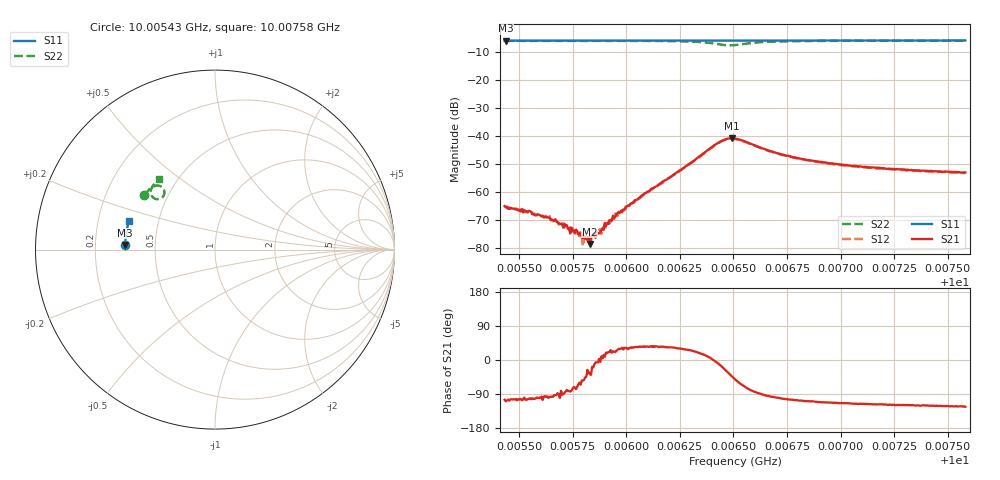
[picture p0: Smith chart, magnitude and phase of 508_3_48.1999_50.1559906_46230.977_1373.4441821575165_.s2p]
#  HZ  S  RI  R  50.00
! Rohde & Schwarz Vector Network Analyzer
! Rohde-Schwarz,ZNB20-2Port,1311601062101988,3.16
! Created: UTC 3/20/2024, 11:58:52 AM
! freq[Hz]  re:S11  im:S11  re:S21  im:S21  re:S12  im:S12  re:S22  im:S22
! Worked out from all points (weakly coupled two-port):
!   401 points, 10.00543 GHz to 10.00758 GHz, reference 50 ohm
!   highest |S21| = -40.85 dB at 10.00649 GHz (marker M1); lowest = -78.5 dB at 10.00583 GHz (marker M2)
!   lowest |S11| = -6.0 dB at 10.00544 GHz (marker M3), VSWR 3.01, Z = 16.6 + j1.13 ohm
!   |S11| at or under -10 dB: nowhere
!   |S22| runs from -7.7 to -6.0 dB; largest |S21 - S12| = 0.00054
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1.0005433e10  -0.5004 0.0249  -0.000143 -0.00054  -9.81e-05 -0.000539  -0.3933 0.3024
1.0005438e10  -0.5002 0.0254  -0.000174 -0.000506  -0.000127 -0.000527  -0.3931 0.3027
1.0005632e10  -0.4998 0.0379  -3.77e-05 -0.000354  -5.02e-05 -0.00033  -0.3847 0.3143
1.0005658e10  -0.4997 0.0396  -3.9e-05 -0.000314  -4.22e-05 -0.000306  -0.3834 0.316
1.0005691e10  -0.4996 0.0418  -4.7e-05 -0.000265  1.75e-06 -0.000275  -0.382 0.3179
1.0005718e10  -0.4997 0.0435  3.1e-05 -0.000247  3.58e-05 -0.000232  -0.3805 0.3195
1.000575e10  -0.4994 0.0457  4.94e-05 -0.000194  8.35e-05 -0.000207  -0.379 0.3216
1.0005793e10  -0.4994 0.0484  0.000101 -0.000139  0.000102 -0.00012  -0.3765 0.324
1.0005809e10  -0.4992 0.0495  0.000102 -0.000104  0.00011 -0.000102  -0.3758 0.3252
1.0005814e10  -0.4992 0.0498  0.000119 -0.000114  0.000134 -0.000101  -0.3755 0.3255
1.000583e10  -0.4992 0.0508  9.39e-05 -7.23e-05  0.00011 -0.000104  -0.3746 0.3264
1.0005841e10  -0.499 0.0515  0.000158 -5.12e-05  0.00017 -4.38e-05  -0.3739 0.3274
1.0005879e10  -0.4988 0.0539  0.000193 -1.73e-05  0.000216 2.93e-05  -0.3717 0.3296
1.0005965e10  -0.4983 0.0596  0.000383 0.000219  0.000357 0.000215  -0.3663 0.3352
1.0006153e10  -0.4971 0.0717  0.00113 0.000759  0.00105 0.00082  -0.3503 0.3485
1.0006422e10  -0.4944 0.089  0.00722 -0.000758  0.00706 -0.000321  -0.2848 0.3334
1.0006492e10  -0.4935 0.0929  0.0067 -0.00611  0.00692 -0.00562  -0.2982 0.287
1.0006508e10  -0.4934 0.0937  0.00565 -0.00696  0.00594 -0.00652  -0.3094 0.2818
1.0006701e10  -0.492 0.1061  -0.000776 -0.00489  -0.00055 -0.00485  -0.358 0.3248
1.0006868e10  -0.4901 0.1168  -0.0012 -0.00343  -0.00104 -0.0034  -0.3509 0.3478
1.0007228e10  -0.4849 0.1396  -0.00122 -0.00229  -0.00108 -0.0023  -0.3315 0.3739
1.0007583e10  -0.4788 0.1617  -0.00123 -0.00186  -0.00107 -0.00191  -0.3131 0.3925
